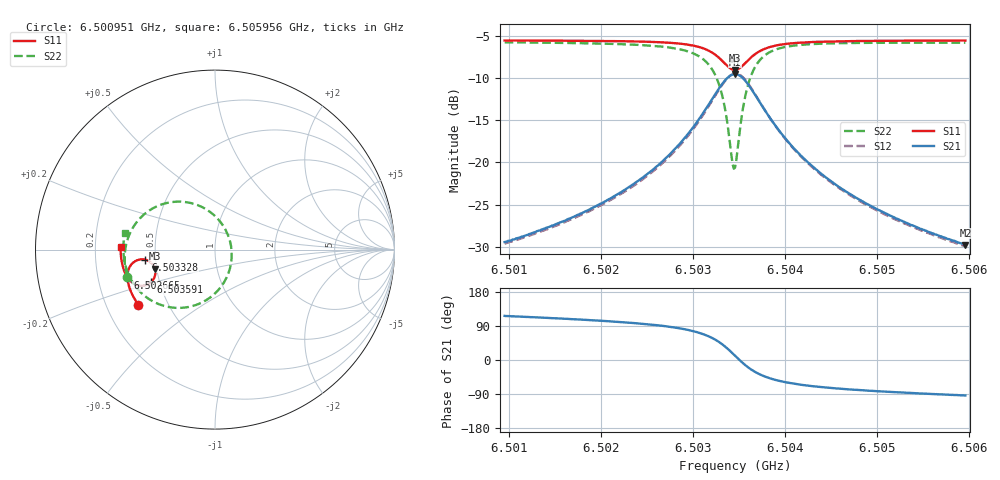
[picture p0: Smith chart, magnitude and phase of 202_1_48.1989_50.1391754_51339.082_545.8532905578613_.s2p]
#  HZ  S  RI  R  50.00
! Rohde & Schwarz Vector Network Analyzer
! Rohde-Schwarz,ZNB20-2Port,1311601062101988,3.16
! Created: UTC 3/20/2024, 11:45:04 AM
! freq[Hz]  re:S11  im:S11  re:S21  im:S21  re:S12  im:S12  re:S22  im:S22
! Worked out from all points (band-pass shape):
!   401 points, 6.500951 GHz to 6.505956 GHz, reference 50 ohm
!   highest |S21| = -9.55 dB at 6.503454 GHz (marker M1); lowest = -29.8 dB at 6.505956 GHz (marker M2)
!   |S21| within 3 dB of the highest: 6.503203 GHz to 6.503703 GHz (500.5 kHz wide, 0.0077 % of centre)
!   lowest |S11| = -9.1 dB at 6.503454 GHz (marker M3), VSWR 2.08, Z = 24.4 - j5.92 ohm
!   |S11| at or under -10 dB: nowhere
!   |S22| runs from -20.8 to -5.8 dB; largest |S21 - S12| = 0.012
!   S11 on the Smith chart (normalised r, x): 6.500951 GHz: 0.34, -0.29; 6.502665 GHz: 0.33, -0.14; 6.503328 GHz: 0.44, -0.06; 6.503591 GHz: 0.45, -0.19; 6.505956 GHz: 0.31, +0.01
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6.500951e9  -0.4264 -0.309  -0.015 0.0302  -0.0131 0.0303  -0.4898 -0.1539
6.5017893e9  -0.4622 -0.2471  -0.0142 0.048  -0.0118 0.0477  -0.503 -0.0648
6.5022398e9  -0.4782 -0.2071  -0.0113 0.067  -0.00836 0.0657  -0.5002 -0.000866
6.5026277e9  -0.4874 -0.1642  -0.00212 0.0972  0.00156 0.0949  -0.48 0.0766
6.5026652e9  -0.4878 -0.1594  -0.00034 0.1014  0.00339 0.0989  -0.4762 0.0861
6.5029405e9  -0.4837 -0.1164  0.0266 0.1443  0.0304 0.1396  -0.4199 0.1723
6.5031282e9  -0.462 -0.0783  0.0815 0.1866  0.084 0.1803  -0.315 0.2451
6.5032408e9  -0.429 -0.0576  0.1514 0.2041  0.1522 0.1977  -0.189 0.267
6.5033284e9  -0.3881 -0.0562  0.2318 0.1872  0.2321 0.1823  -0.0504 0.2253
6.503416e9  -0.346 -0.0845  0.3089 0.1139  0.3112 0.1091  0.0724 0.0807
6.503441e9  -0.3381 -0.0986  0.322 0.0825  0.3251 0.0773  0.0891 0.0217
6.5034535e9  -0.3353 -0.1061  0.3264 0.0659  0.3297 0.0601  0.0926 -0.00911
6.5034786e9  -0.3325 -0.122  0.3296 0.0318  0.3333 0.0249  0.0902 -0.0715
6.5035411e9  -0.3398 -0.1597  0.3108 -0.0467  0.313 -0.0567  0.0329 -0.2079
6.5035912e9  -0.3564 -0.1818  0.2768 -0.0924  0.2764 -0.1039  -0.0448 -0.279
6.5037038e9  -0.4014 -0.2012  0.1916 -0.1372  0.1861 -0.1467  -0.2173 -0.3245
6.5038665e9  -0.4478 -0.1916  0.1092 -0.1336  0.1019 -0.1387  -0.3656 -0.2769
6.5040416e9  -0.4753 -0.1702  0.0643 -0.1132  0.0579 -0.1155  -0.4383 -0.2113
6.5042919e9  -0.4962 -0.1402  0.034 -0.0886  0.0294 -0.0891  -0.4818 -0.1387
6.5046673e9  -0.5118 -0.101  0.0149 -0.065  0.0116 -0.0648  -0.5042 -0.0635
6.5051303e9  -0.5211 -0.0581  0.00498 -0.0485  0.00277 -0.0477  -0.5103 0.00223
6.5059561e9  -0.526 0.0119  -0.00204 -0.0324  -0.0034 -0.0317  -0.5026 0.09
